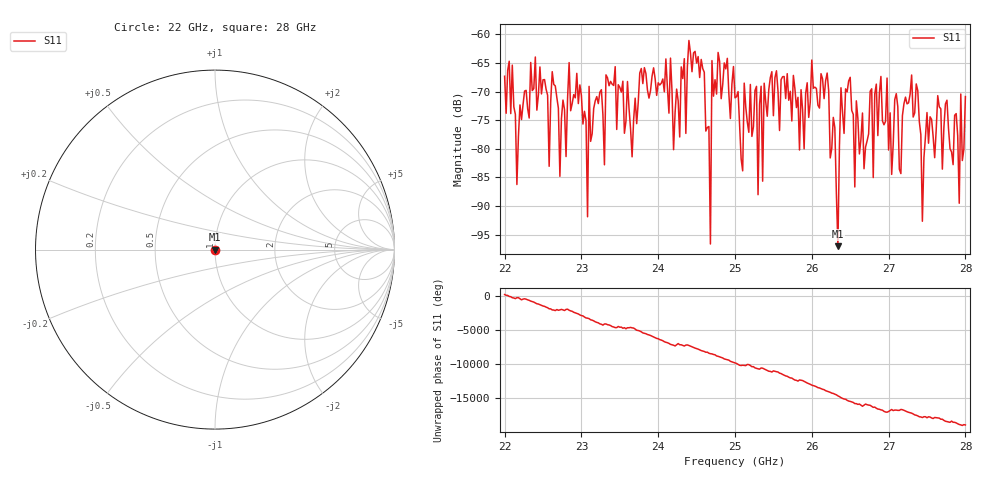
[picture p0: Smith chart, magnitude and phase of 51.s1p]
#  HZ  S  RI  R  50.00
! Rohde & Schwarz ZVA40 4Ports - Version 3.90 - 1145.1110k42 SN: 100403
! Date: 2023-10-04 09:20:06
! Measurement: S12
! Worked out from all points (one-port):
!   301 points, 22 GHz to 28 GHz, reference 50 ohm
!   lowest |S11| = -97.0 dB at 26.34 GHz (marker M1), VSWR 1.00, Z = 50 + j0.00139 ohm
!   |S11| at or under -10 dB: start of sweep to end of sweep
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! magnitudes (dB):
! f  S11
! 22 GHz  -67.3
! 22.16 GHz  -86.2
! 22.4 GHz  -64.0
! 22.58 GHz  -83.1
! 22.62 GHz  -66.5
! 22.76 GHz  -71.5
! 23.5 GHz  -69.3
! 23.66 GHz  -81.4
! 24.26 GHz  -71.6
! 24.34 GHz  -64.3
! 24.36 GHz  -77.3
! 24.4 GHz  -61.1
! 24.68 GHz  -96.6
! 24.7 GHz  -64.6
! 25 GHz  -71.1
! 25.28 GHz  -69.1
! 25.3 GHz  -88.0
! 25.34 GHz  -69.1
! 25.36 GHz  -85.7
! 25.38 GHz  -68.5
! 25.76 GHz  -67.2
! 25.84 GHz  -80.2
! 26 GHz  -64.5
! 26.34 GHz  -97.0
! 26.5 GHz  -67.5
! 26.56 GHz  -86.7
! 27.26 GHz  -72.0
! 28 GHz  -70.9
